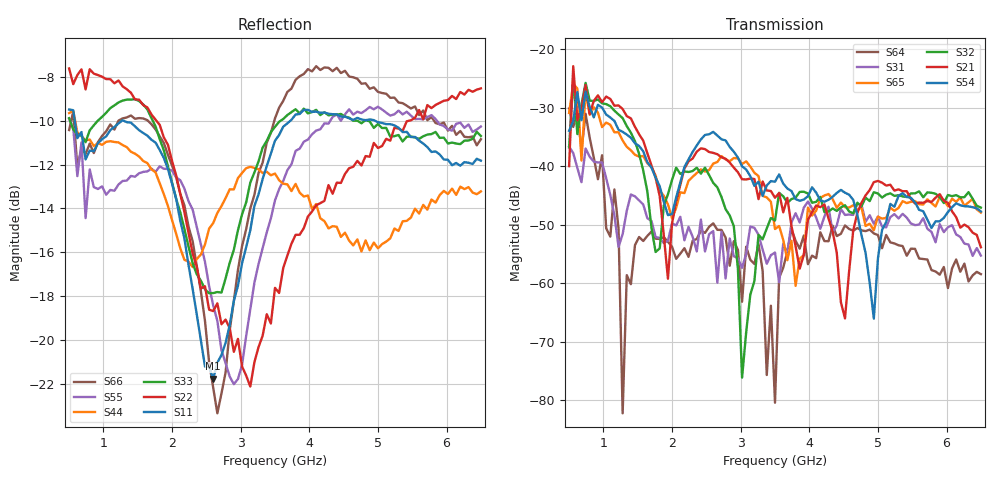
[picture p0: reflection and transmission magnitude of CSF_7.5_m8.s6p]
!Keysight Technologies,M9804A,MY58100912,A.14.10.03
!Date: Thursday, April 27, 2023 10:28:33
!Correction: S11(C  6-Port  )
!S12(C  6-Port  )
!S13(C  6-Port  )
!S14(C  6-Port  )
!S15(C  6-Port  )
!S16(C  6-Port  )
!S21(C  6-Port  )
!S22(C  6-Port  )
!S23(C  6-Port  )
!S24(C  6-Port  )
!S25(C  6-Port  )
!S26(C  6-Port  )
!S31(C  6-Port  )
!S32(C  6-Port  )
!S33(C  6-Port  )
!S34(C  6-Port  )
!S35(C  6-Port  )
!S36(C  6-Port  )
!S41(C  6-Port  )
!S42(C  6-Port  )
!S43(C  6-Port  )
!S44(C  6-Port  )
!S45(C  6-Port  )
!S46(C  6-Port  )
!S51(C  6-Port  )
!S52(C  6-Port  )
!S53(C  6-Port  )
!S54(C  6-Port  )
!S55(C  6-Port  )
!S56(C  6-Port  )
!S61(C  6-Port  )
!S62(C  6-Port  )
!S63(C  6-Port  )
!S64(C  6-Port  )
!S65(C  6-Port  )
!S66(C  6-Port  )
!S6P File: Measurement: :
# Hz S  RI  R 50
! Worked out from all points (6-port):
!   101 points, 500 MHz to 6.5 GHz, reference 50 ohm
!   strongest paths, dB at 500 MHz, 2 GHz, 3.5 GHz, 5 GHz, 6.5 GHz:
!     S54: -34.0, -48.2, -42.7, -55.8, -47.7
!     S21: -40.0, -49.8, -45.4, -42.5, -53.9
!     S32: -36.8, -42.3, -49.3, -44.7, -47.1
!     S65: -30.9, -48.9, -50.7, -48.6, -47.9
!     S31: -36.7, -49.8, -54.8, -48.6, -55.3
!     S64: -30.2, -53.8, -80.4, -51.8, -58.4
!   lowest |S11| = -21.8 dB at 2.6 GHz (marker M1), VSWR 1.18, Z = 42.7 + j1.97 ohm
!   |S11| at or under -10 dB: 582.8 MHz to 1.27 GHz (687.1 MHz wide, 74.2 % of centre); 1.297 GHz to 3.723 GHz (2.426 GHz wide, 96.6 % of centre); 4.96 GHz to end of sweep
